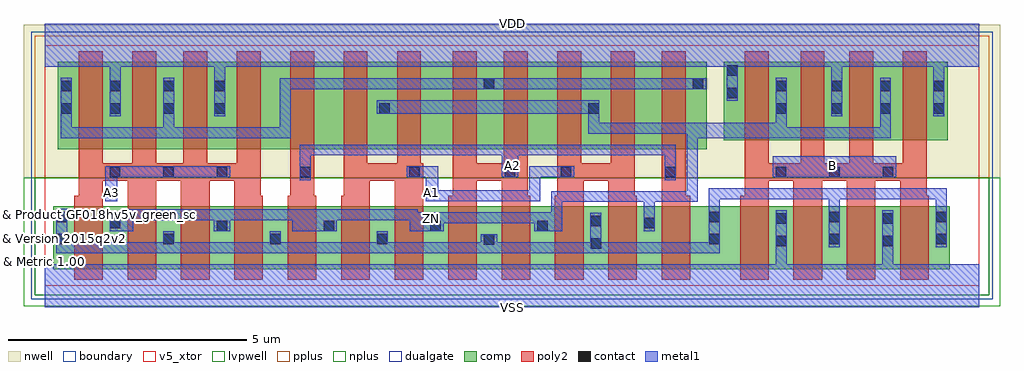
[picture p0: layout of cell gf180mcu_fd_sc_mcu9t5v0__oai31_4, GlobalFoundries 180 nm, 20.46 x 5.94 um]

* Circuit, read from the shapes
.subckt gf180mcu_fd_sc_mcu9t5v0__oai31_4 A1 A2 A3 B VDD VSS ZN
XM1 ZN A3 n1 VSUBS nfet_05v0 w=1.32u l=0.6u m=4
XM2 ZN A2 n1 VSUBS nfet_05v0 w=1.32u l=0.6u m=4
XM3 n1 A1 ZN VSUBS nfet_05v0 w=1.32u l=0.6u m=4
XM4 VSS B n1 VSUBS nfet_05v0 w=1.32u l=0.6u m=4
XM5 VDD A3 n2 n3 pfet_05v0 w=1.83u l=0.5u m=3
XM6 n4 A3 VDD n3 pfet_05v0 w=1.83u l=0.5u
XM7 n5 A2 n4 n3 pfet_05v0 w=1.83u l=0.5u
XM8 ZN A1 n5 n3 pfet_05v0 w=1.83u l=0.5u
XM9 n6 A1 ZN n3 pfet_05v0 w=1.83u l=0.5u
XM10 n2 A2 n6 n3 pfet_05v0 w=1.83u l=0.5u
XM11 n7 A2 n2 n3 pfet_05v0 w=1.83u l=0.5u
XM12 ZN A1 n7 n3 pfet_05v0 w=1.83u l=0.5u
XM13 n8 A1 ZN n3 pfet_05v0 w=1.83u l=0.5u
XM14 n2 A2 n8 n3 pfet_05v0 w=1.83u l=0.5u
XM15 ZN B VDD n3 pfet_05v0 w=1.645u l=0.5u m=4
.ends

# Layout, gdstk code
import gdstk
lib = gdstk.Library(unit=1e-6, precision=1e-09)
def R(c, l, rs):  # rectangles x0, y0, x1, y1
    for r in rs: c.add(gdstk.rectangle(r[:2], r[2:], *l))
def A(c, l, x, y, w, h, nx, ny, dx, dy):  # array of equal rectangles
    R(c, l, [(x+i*dx, y+j*dy, x+i*dx+w, y+j*dy+h) for i in range(nx) for j in range(ny)])
def P(c, l, *ps):  # polygons
    for p in ps: c.add(gdstk.Polygon(p, *l))
boundary = (0, 0)
nwell = (21, 0)
comp = (22, 0)
poly2 = (30, 0)
pplus = (31, 0)
nplus = (32, 0)
contact = (33, 0)
metal1 = (34, 0)
dualgate = (55, 0)
v5_xtor = (112, 1)
lvpwell = (204, 0)

gf180mcu_fd_sc_mcu9t5v0_ = lib.new_cell('gf180mcu_fd_sc_mcu9t5v0__oai31_4')
R(gf180mcu_fd_sc_mcu9t5v0_, boundary, [(0,0,19.6,5.04)])
R(gf180mcu_fd_sc_mcu9t5v0_, nwell, [(-0.43,2.265,20.03,5.47)])
R(gf180mcu_fd_sc_mcu9t5v0_, comp, [(0.18,0.345,18.98,1.665), (0.28,2.865,13.88,4.695), (14.24,3.05,18.93,4.695)])
P(gf180mcu_fd_sc_mcu9t5v0_, poly2, [(0.62,0.125),(0.62,1.885),(0.72,1.885),(0.72,4.915),(1.22,4.915),(1.22,2.565),(1.84,2.565),(1.84,4.915),(2.34,4.915),(2.34,2.565),(2.91,2.565),(2.91,4.915),(3.41,4.915),(3.41,2.565),(4.03,2.565),(4.03,4.915),(4.53,4.915),(4.53,1.885),(4.58,1.885),(4.58,0.125),(3.98,0.125),(3.98,2.205),(3.46,2.205),(3.46,0.125),(2.86,0.125),(2.86,2.205),(2.34,2.205),(2.34,0.125),(1.74,0.125),(1.74,2.205),(1.22,2.205),(1.22,0.125)],
  [(5.1,0.125),(5.1,1.885),(5.15,1.885),(5.15,4.915),(5.65,4.915),(5.65,1.885),(5.7,1.885),(5.7,0.125)],
  [(6.22,0.125),(6.22,1.885),(6.27,1.885),(6.27,4.915),(6.77,4.915),(6.77,2.565),(7.39,2.565),(7.39,4.915),(7.89,4.915),(7.89,2.565),(7.94,2.565),(7.94,0.125),(7.34,0.125),(7.34,2.205),(6.82,2.205),(6.82,0.125)],
  [(8.46,0.125),(8.46,1.885),(8.56,1.885),(8.56,4.915),(9.06,4.915),(9.06,2.565),(9.63,2.565),(9.63,4.915),(10.13,4.915),(10.13,1.885),(10.18,1.885),(10.18,0.125),(9.58,0.125),(9.58,2.205),(9.06,2.205),(9.06,0.125)],
  [(10.7,0.125),(10.7,1.885),(10.75,1.885),(10.75,4.915),(11.25,4.915),(11.25,2.565),(11.87,2.565),(11.87,4.915),(12.37,4.915),(12.37,1.885),(12.42,1.885),(12.42,0.125),(11.82,0.125),(11.82,2.205),(11.3,2.205),(11.3,0.125)],
  [(12.94,0.125),(12.94,4.915),(13.44,4.915),(13.44,1.885),(13.54,1.885),(13.54,0.125)],
  [(14.58,0.125),(14.58,1.885),(14.68,1.885),(14.68,4.915),(15.18,4.915),(15.18,2.565),(15.85,2.565),(15.85,4.915),(16.35,4.915),(16.35,2.565),(16.87,2.565),(16.87,4.915),(17.37,4.915),(17.37,2.565),(17.99,2.565),(17.99,4.915),(18.49,4.915),(18.49,1.885),(18.54,1.885),(18.54,0.125),(17.94,0.125),(17.94,2.205),(17.42,2.205),(17.42,0.125),(16.82,0.125),(16.82,2.205),(16.3,2.205),(16.3,0.125),(15.7,0.125),(15.7,2.205),(15.18,2.205),(15.18,0.125)])
R(gf180mcu_fd_sc_mcu9t5v0_, pplus, [(-0.2,2.265,19.8,5.24)])
R(gf180mcu_fd_sc_mcu9t5v0_, nplus, [(-0.2,-0.2,19.8,2.265)])
A(gf180mcu_fd_sc_mcu9t5v0_, contact, 0.25, 0.865, 0.22, 0.22, 4, 1, 2.24, 0)
A(gf180mcu_fd_sc_mcu9t5v0_, contact, 3.61, 1.145, 0.22, 0.22, 4, 1, 2.24, 0)
A(gf180mcu_fd_sc_mcu9t5v0_, contact, 1.37, 2.275, 0.22, 0.22, 3, 1, 1.12, 0)
A(gf180mcu_fd_sc_mcu9t5v0_, contact, 15.33, 2.275, 0.22, 0.22, 3, 1, 1.12, 0)
R(gf180mcu_fd_sc_mcu9t5v0_, contact, [(11.45,0.775,11.67,0.995), (15.33,0.83,15.55,1.05), (17.57,0.83,17.79,1.05), (9.21,0.855,9.43,1.075), (13.93,0.865,14.15,1.085), (16.45,0.865,16.67,1.085), (18.69,0.865,18.91,1.085), (1.37,1.2,1.59,1.42), (12.57,1.2,12.79,1.42), (11.45,1.245,11.67,1.465), (15.33,1.3,15.55,1.52), (17.57,1.3,17.79,1.52), (0.25,1.335,0.47,1.555), (13.93,1.335,14.15,1.555), (16.45,1.335,16.67,1.555), (18.69,1.335,18.91,1.555), (5.36,2.275,5.58,2.495), (7.65,2.275,7.87,2.495), (9.65,2.275,9.87,2.495), (10.82,2.275,11.04,2.495), (13.01,2.275,13.23,2.495), (0.35,3.61,0.57,3.83), (1.37,3.61,1.59,3.83), (2.49,3.61,2.71,3.83), (3.56,3.61,3.78,3.83), (7.02,3.61,7.24,3.83), (11.4,3.61,11.62,3.83), (15.33,3.61,15.55,3.83), (16.5,3.61,16.72,3.83), (17.52,3.61,17.74,3.83), (18.64,3.61,18.86,3.83), (14.31,3.935,14.53,4.155), (0.35,4.08,0.57,4.3), (1.37,4.08,1.59,4.3), (2.49,4.08,2.71,4.3), (3.56,4.08,3.78,4.3), (15.33,4.08,15.55,4.3), (16.5,4.08,16.72,4.3), (17.52,4.08,17.74,4.3), (18.64,4.08,18.86,4.3), (9.21,4.125,9.43,4.345), (13.59,4.125,13.81,4.345), (14.31,4.405,14.53,4.625)])
R(gf180mcu_fd_sc_mcu9t5v0_, metal1, [(15.27,2.27,17.85,2.71)])
P(gf180mcu_fd_sc_mcu9t5v0_, metal1, [(1.27,1.77),(1.27,2.5),(3.89,2.5),(3.89,2.27),(1.53,2.27),(1.53,1.77)],
  [(7.99,1.77),(7.99,2.27),(7.59,2.27),(7.59,2.5),(8.25,2.5),(8.25,2),(10.16,2),(10.16,2.5),(11.1,2.5),(11.1,2.27),(10.39,2.27),(10.39,1.77)],
  [(5.355,2.215),(5.355,2.96),(13.235,2.96),(13.235,2.215),(13.005,2.215),(13.005,2.73),(9.93,2.73),(9.93,2.27),(9.59,2.27),(9.59,2.73),(5.585,2.73),(5.585,2.215)],
  [(0.345,3.09),(0.345,4.36),(0.575,4.36),(0.575,3.32),(2.485,3.32),(2.485,4.36),(2.715,4.36),(2.715,3.32),(4.935,3.32),(4.935,4.35),(13.87,4.35),(13.87,4.12),(5.165,4.12),(5.165,3.09)],
  [(1.365,1.14),(1.365,1.54),(1.695,1.54),(1.695,1.605),(7.825,1.605),(7.825,1.54),(10.62,1.54),(10.62,1.985),(13.465,1.985),(13.465,3.19),(11.395,3.19),(11.395,3.605),(6.96,3.605),(6.96,3.89),(11.625,3.89),(11.625,3.42),(15.325,3.42),(15.325,4.36),(15.555,4.36),(15.555,3.32),(17.515,3.32),(17.515,4.36),(17.745,4.36),(17.745,3.09),(13.695,3.09),(13.695,1.755),(12.795,1.755),(12.795,1.14),(12.565,1.14),(12.565,1.755),(10.85,1.755),(10.85,1.14),(10.27,1.14),(10.27,1.31),(8.37,1.31),(8.37,1.14),(7.66,1.14),(7.66,1.375),(6.13,1.375),(6.13,1.14),(5.19,1.14),(5.19,1.375),(3.89,1.375),(3.89,1.14),(3.55,1.14),(3.55,1.375),(1.86,1.375),(1.86,1.14)],
  [(0.245,0.68),(0.245,1.615),(0.475,1.615),(0.475,0.91),(2.485,0.91),(2.485,1.145),(2.715,1.145),(2.715,0.91),(4.725,0.91),(4.725,1.145),(4.955,1.145),(4.955,0.91),(6.965,0.91),(6.965,1.145),(7.195,1.145),(7.195,0.91),(9.15,0.91),(9.15,1.08),(9.49,1.08),(9.49,0.91),(11.445,0.91),(11.445,1.525),(11.675,1.525),(11.675,0.91),(13.925,0.91),(13.925,2.04),(18.915,2.04),(18.915,0.805),(18.685,0.805),(18.685,1.81),(16.675,1.81),(16.675,0.805),(16.445,0.805),(16.445,1.81),(14.155,1.81),(14.155,0.68)],
  [(0,-0.45),(0,0.45),(15.325,0.45),(15.325,1.58),(15.555,1.58),(15.555,0.45),(17.565,0.45),(17.565,1.58),(17.795,1.58),(17.795,0.45),(19.6,0.45),(19.6,-0.45)],
  [(1.365,3.55),(1.365,4.59),(0,4.59),(0,5.49),(19.6,5.49),(19.6,4.59),(18.865,4.59),(18.865,3.55),(18.635,3.55),(18.635,4.59),(16.725,4.59),(16.725,3.55),(16.495,3.55),(16.495,4.59),(14.535,4.59),(14.535,3.875),(14.305,3.875),(14.305,4.59),(3.785,4.59),(3.785,3.55),(3.555,3.55),(3.555,4.59),(1.595,4.59),(1.595,3.55)])
R(gf180mcu_fd_sc_mcu9t5v0_, dualgate, [(-0.28,-0.28,19.88,5.32)])
R(gf180mcu_fd_sc_mcu9t5v0_, v5_xtor, [(0,0,19.6,5.04)])
R(gf180mcu_fd_sc_mcu9t5v0_, lvpwell, [(-0.43,-0.43,20.03,2.265)])
gf180mcu_fd_sc_mcu9t5v0_.add(gdstk.Label('A1', (8.12,1.96), layer=34, texttype=10))
gf180mcu_fd_sc_mcu9t5v0_.add(gdstk.Label('A2', (9.8,2.52), layer=34, texttype=10))
gf180mcu_fd_sc_mcu9t5v0_.add(gdstk.Label('A3', (1.4,1.96), layer=34, texttype=10))
gf180mcu_fd_sc_mcu9t5v0_.add(gdstk.Label('B', (16.52,2.52), layer=34, texttype=10))
gf180mcu_fd_sc_mcu9t5v0_.add(gdstk.Label('VDD', (9.8,5.49), layer=34, texttype=10))
gf180mcu_fd_sc_mcu9t5v0_.add(gdstk.Label('VSS', (9.8,-0.45), layer=34, texttype=10))
gf180mcu_fd_sc_mcu9t5v0_.add(gdstk.Label('ZN', (8.12,1.4), layer=34, texttype=10))
gf180mcu_fd_sc_mcu9t5v0_.add(gdstk.Label('& Vendor GLOBALFOUNDRIES', (0,2), layer=63, texttype=63))
gf180mcu_fd_sc_mcu9t5v0_.add(gdstk.Label('& Product GF018hv5v_green_sc9', (0,1.5), layer=63, texttype=63))
gf180mcu_fd_sc_mcu9t5v0_.add(gdstk.Label('& Version 2015q2v2', (0,1), layer=63, texttype=63))
gf180mcu_fd_sc_mcu9t5v0_.add(gdstk.Label('& Metric 1.00', (0,0.5), layer=63, texttype=63))

lib.write_gds('gf180mcu_fd_sc_mcu9t5v0__oai31_4.gds')
